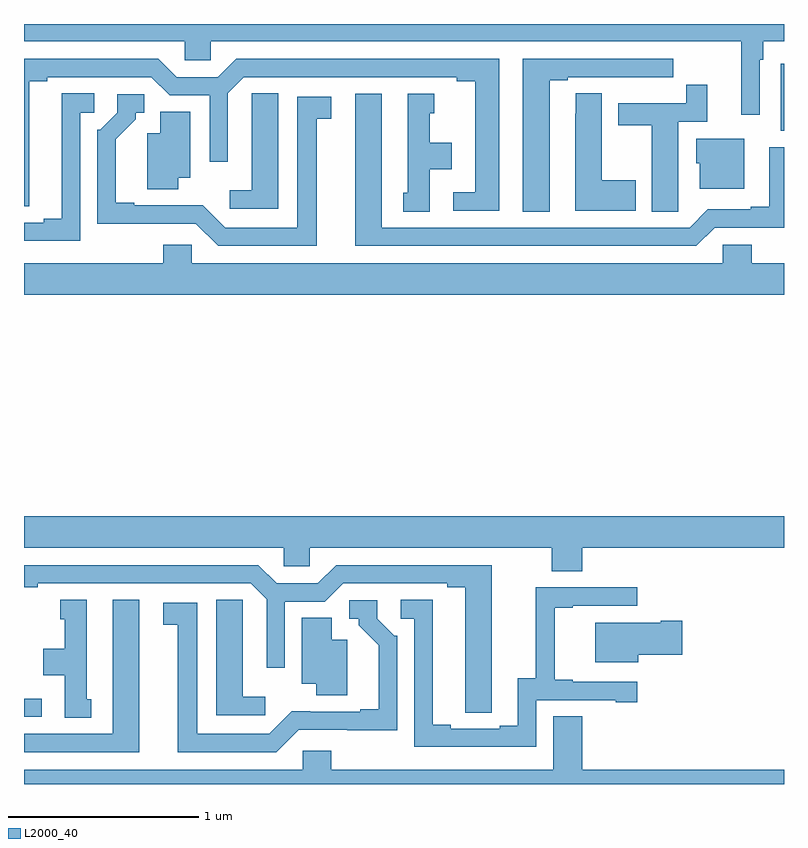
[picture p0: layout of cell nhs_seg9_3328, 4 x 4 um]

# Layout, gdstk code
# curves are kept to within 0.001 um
import gdstk
lib = gdstk.Library(unit=1e-6, precision=1e-09)
def R(c, l, rs):  # rectangles x0, y0, x1, y1
    for r in rs: c.add(gdstk.rectangle(r[:2], r[2:], *l))
def P(c, l, *ps):  # polygons
    for p in ps: c.add(gdstk.Polygon(p, *l))
L2000_40 = (2000, 40)

nhs_seg9_3328 = lib.new_cell('nhs_seg9_3328')
R(nhs_seg9_3328, L2000_40, [(301,1204.854,301.093,1204.95), (304.982,1207.937,305,1208.29)])
P(nhs_seg9_3328, L2000_40, [(301,1208.408),(301.845,1208.408),(301.845,1208.31),(301.983,1208.31),(301.983,1208.408),(304.775,1208.408),(304.775,1208.022),(304.872,1208.022),(304.872,1208.312),(304.892,1208.312),(304.892,1208.408),(305,1208.408),(305,1208.5),(301,1208.5)],
  [(303.766,1208.205),(303.862,1208.205),(303.862,1208.22),(304.138,1208.22),(304.138,1208.219),(304.304,1208.219),(304.304,1208.22),(304.417,1208.22),(304.417,1208.316),(303.626,1208.316),(303.626,1207.513),(303.766,1207.513)],
  [(303.502,1208.316),(302.117,1208.316),(302.021,1208.22),(301.803,1208.22),(301.707,1208.316),(301,1208.316),(301,1207.54),(301.027,1207.54),(301.027,1208.2),(301.123,1208.2),(301.123,1208.22),(301.671,1208.22),(301.767,1208.124),(301.977,1208.124),(301.977,1207.776),(302.073,1207.776),(302.073,1208.136),(302.157,1208.22),(303.278,1208.22),(303.278,1208.2),(303.374,1208.2),(303.374,1207.614),(303.258,1207.614),(303.258,1207.518),(303.502,1207.518)],
  [(304.443,1207.624),(304.444,1207.624),(304.444,1207.986),(304.595,1207.986),(304.595,1208.179),(304.486,1208.179),(304.486,1208.082),(304.127,1208.082),(304.127,1207.966),(304.304,1207.966),(304.304,1207.513),(304.443,1207.513)],
  [(301.296,1208.034),(301.369,1208.034),(301.369,1208.135),(301.199,1208.135),(301.199,1207.475),(301.103,1207.475),(301.103,1207.455),(301,1207.455),(301,1207.359),(301.296,1207.359)],
  [(302.338,1208.135),(302.199,1208.135),(302.199,1208.027),(302.198,1208.027),(302.198,1207.624),(302.082,1207.624),(302.082,1207.527),(302.338,1207.527)],
  [(304.219,1207.677),(304.042,1207.677),(304.042,1208.135),(303.903,1208.135),(303.903,1208.027),(303.902,1208.027),(303.902,1207.517),(304.219,1207.517)],
  [(304.635,1207.428),(305,1207.428),(305,1207.852),(304.922,1207.852),(304.922,1207.537),(304.826,1207.537),(304.826,1207.524),(304.599,1207.524),(304.503,1207.428),(302.884,1207.428),(302.884,1208.134),(302.744,1208.134),(302.744,1207.332),(304.539,1207.332)],
  [(303.136,1207.736),(303.25,1207.736),(303.25,1207.876),(303.136,1207.876),(303.136,1208.031),(303.16,1208.031),(303.16,1208.134),(303.02,1208.134),(303.02,1207.611),(302.996,1207.611),(302.996,1207.513),(303.136,1207.513)],
  [(302.542,1208.002),(302.617,1208.002),(302.617,1208.118),(302.438,1208.118),(302.438,1207.428),(302.058,1207.428),(301.94,1207.546),(301.579,1207.545),(301.579,1207.558),(301.483,1207.558),(301.483,1207.894),(301.588,1207.999),(301.588,1208.034),(301.633,1208.034),(301.633,1208.13),(301.491,1208.13),(301.491,1208.034),(301.401,1207.944),(301.386,1207.944),(301.386,1207.448),(301.905,1207.449),(302.022,1207.332),(302.542,1207.332)],
  [(301.813,1207.691),(301.876,1207.691),(301.876,1208.039),(301.718,1208.039),(301.718,1207.924),(301.649,1207.924),(301.649,1207.63),(301.813,1207.63)],
  [(304.792,1207.897),(304.538,1207.897),(304.538,1207.767),(304.556,1207.767),(304.556,1207.634),(304.792,1207.634)],
  [(305,1207.24),(304.829,1207.24),(304.829,1207.338),(304.677,1207.338),(304.677,1207.24),(301.884,1207.24),(301.884,1207.338),(301.733,1207.338),(301.733,1207.24),(301,1207.24),(301,1207.076),(305,1207.076)],
  [(303.938,1205.744),(305,1205.744),(305,1205.908),(301,1205.908),(301,1205.744),(302.367,1205.744),(302.367,1205.646),(302.505,1205.646),(302.505,1205.744),(303.778,1205.744),(303.778,1205.62),(303.938,1205.62)],
  [(303.462,1204.984),(303.463,1205.652),(302.643,1205.652),(302.547,1205.556),(302.329,1205.556),(302.233,1205.652),(301,1205.652),(301,1205.536),(301.072,1205.536),(301.072,1205.556),(302.193,1205.556),(302.277,1205.472),(302.277,1205.112),(302.373,1205.112),(302.373,1205.46),(302.583,1205.46),(302.679,1205.556),(303.227,1205.556),(303.227,1205.536),(303.323,1205.536),(303.323,1204.876),(303.462,1204.876)],
  [(303.696,1204.941),(304.115,1204.941),(304.115,1204.929),(304.228,1204.929),(304.228,1205.037),(303.889,1205.037),(303.889,1205.05),(303.794,1205.05),(303.794,1205.427),(303.889,1205.427),(303.889,1205.439),(304.228,1205.439),(304.228,1205.535),(303.694,1205.535),(303.694,1205.057),(303.599,1205.057),(303.599,1204.806),(303.503,1204.806),(303.503,1204.791),(303.247,1204.791),(303.247,1204.811),(303.151,1204.811),(303.151,1205.471),(302.982,1205.471),(302.982,1205.37),(303.054,1205.37),(303.054,1204.695),(303.696,1204.695)],
  [(302.269,1204.96),(302.152,1204.96),(302.152,1205.363),(302.151,1205.363),(302.151,1205.471),(302.012,1205.471),(302.012,1204.863),(302.269,1204.863)],
  [(301.606,1205.47),(301.466,1205.47),(301.466,1204.764),(301,1204.764),(301,1204.668),(301.606,1204.668)],
  [(301.354,1204.947),(301.33,1204.947),(301.33,1205.47),(301.19,1205.47),(301.19,1205.367),(301.214,1205.367),(301.214,1205.212),(301.1,1205.212),(301.1,1205.072),(301.214,1205.072),(301.214,1204.849),(301.354,1204.849)],
  [(302.445,1204.785),(302.964,1204.784),(302.964,1205.28),(302.949,1205.28),(302.859,1205.37),(302.859,1205.466),(302.712,1205.466),(302.712,1205.37),(302.762,1205.37),(302.762,1205.335),(302.867,1205.23),(302.867,1204.894),(302.771,1204.894),(302.771,1204.881),(302.41,1204.882),(302.292,1204.764),(301.912,1204.764),(301.912,1205.454),(301.734,1205.454),(301.734,1205.338),(301.808,1205.338),(301.808,1204.668),(302.328,1204.668)],
  [(302.701,1205.26),(302.62,1205.26),(302.62,1205.375),(302.462,1205.375),(302.462,1205.027),(302.537,1205.027),(302.537,1204.966),(302.701,1204.966)],
  [(304.234,1205.18),(304.465,1205.18),(304.465,1205.358),(304.352,1205.358),(304.352,1205.35),(304.007,1205.35),(304.007,1205.141),(304.234,1205.141)],
  [(305,1204.576),(303.938,1204.576),(303.938,1204.856),(303.785,1204.856),(303.785,1204.576),(302.618,1204.576),(302.618,1204.674),(302.466,1204.674),(302.466,1204.576),(301,1204.576),(301,1204.5),(305,1204.5)])

lib.write_gds('nhs_seg9_3328.gds')
